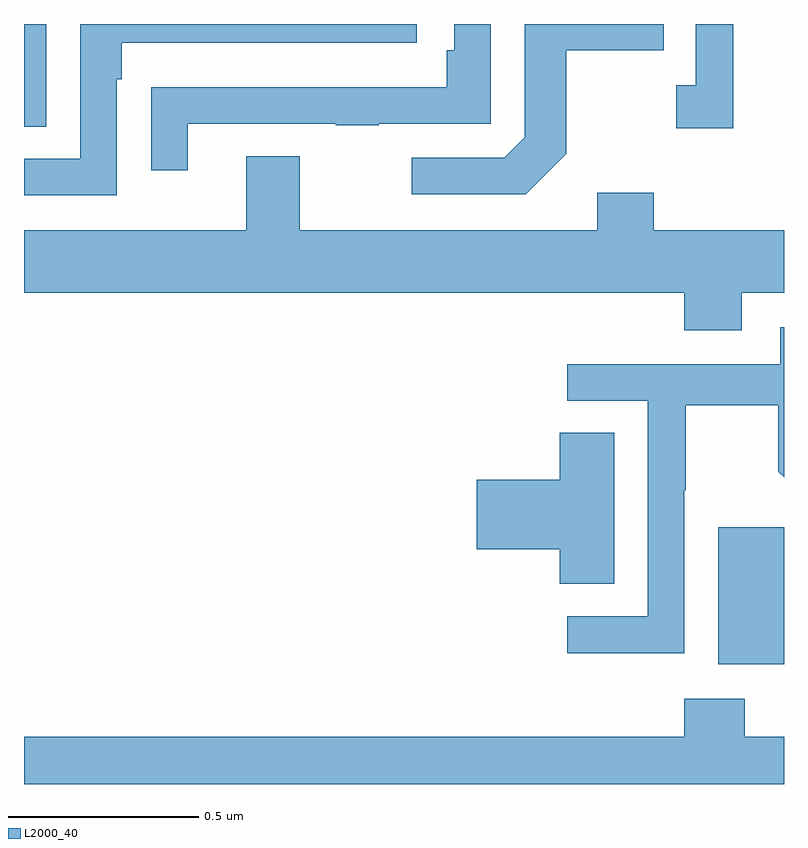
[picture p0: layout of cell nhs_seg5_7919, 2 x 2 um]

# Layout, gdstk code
import gdstk
lib = gdstk.Library(unit=1e-6, precision=1e-09)
def R(c, l, rs):  # rectangles x0, y0, x1, y1
    for r in rs: c.add(gdstk.rectangle(r[:2], r[2:], *l))
def P(c, l, *ps):  # polygons
    for p in ps: c.add(gdstk.Polygon(p, *l))
L2000_40 = (2000, 40)

nhs_seg5_7919 = lib.new_cell('nhs_seg5_7919')
R(nhs_seg5_7919, L2000_40, [(216.827,857.114,217,857.475), (215,858.529,215.058,858.799)])
P(nhs_seg5_7919, L2000_40, [(215.244,858.653),(215.257,858.653),(215.257,858.75),(216.034,858.75),(216.034,858.799),(215.148,858.799),(215.148,858.444),(215,858.444),(215,858.348),(215.244,858.348)],
  [(216.427,858.457),(216.427,858.73),(216.683,858.73),(216.683,858.799),(216.318,858.799),(216.318,858.501),(216.264,858.447),(216.021,858.447),(216.021,858.351),(216.321,858.351)],
  [(216.866,858.799),(216.768,858.799),(216.768,858.638),(216.717,858.638),(216.717,858.525),(216.866,858.525)],
  [(215.431,858.537),(215.821,858.537),(215.821,858.532),(215.933,858.532),(215.933,858.537),(216.228,858.537),(216.228,858.799),(216.132,858.799),(216.132,858.73),(216.112,858.73),(216.112,858.633),(215.437,858.633),(215.437,858.632),(215.335,858.632),(215.335,858.414),(215.431,858.414)],
  [(216.889,858.092),(217,858.092),(217,858.256),(216.657,858.256),(216.657,858.355),(216.509,858.355),(216.509,858.256),(215.725,858.256),(215.725,858.451),(215.585,858.451),(215.585,858.256),(215,858.256),(215,858.092),(216.737,858.092),(216.737,857.993),(216.889,857.993)],
  [(216.738,857.572),(216.741,857.572),(216.741,857.796),(216.985,857.796),(216.985,857.621),(217,857.606),(217,858.001),(216.99,858.001),(216.99,857.904),(216.429,857.904),(216.429,857.808),(216.642,857.808),(216.642,857.241),(216.429,857.241),(216.429,857.143),(216.738,857.143)],
  [(216.553,857.723),(216.41,857.723),(216.41,857.6),(216.192,857.6),(216.192,857.417),(216.41,857.417),(216.41,857.326),(216.553,857.326)],
  [(217,856.924),(216.897,856.924),(216.897,857.023),(216.737,857.023),(216.737,856.924),(215,856.924),(215,856.799),(217,856.799)])

lib.write_gds('nhs_seg5_7919.gds')
